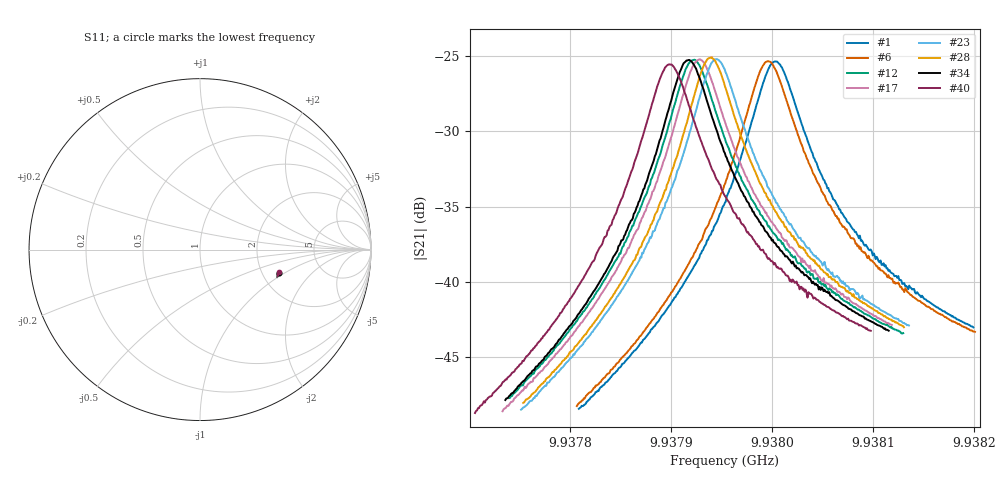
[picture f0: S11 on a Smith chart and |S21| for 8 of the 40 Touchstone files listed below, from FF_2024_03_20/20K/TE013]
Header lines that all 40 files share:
#  HZ  S  RI  R  50.00
! Rohde & Schwarz Vector Network Analyzer
! Rohde-Schwarz,ZNB20-2Port,1311601062101988,3.16
! freq[Hz]  re:S11  im:S11  re:S21  im:S21  re:S12  im:S12  re:S22  im:S22
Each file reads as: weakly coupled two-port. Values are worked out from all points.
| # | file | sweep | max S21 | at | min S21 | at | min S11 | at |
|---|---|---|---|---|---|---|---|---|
| 1 | 0_3_17.0001_20.9476318_0.316_2.426342487335205_.s2p | 9.9378084 GHz to 9.938199 GHz | -25.35 dB | 9.9380027 GHz | -48.4 dB | 9.9378084 GHz | -6.5 dB | 9.9379998 GHz |
| 2 | 1_3_16.9997_20.9477043_0.256_4.876332998275757_.s2p | 9.9378064 GHz to 9.9382008 GHz | -25.34 dB | 9.9380036 GHz | -48.6 dB | 9.9378064 GHz | -6.5 dB | 9.9380016 GHz |
| 3 | 2_3_16.9993_20.9471455_0.226_7.279202222824097_.s2p | 9.9378066 GHz to 9.9382008 GHz | -25.31 dB | 9.9380027 GHz | -48.6 dB | 9.9378066 GHz | -6.5 dB | 9.9379997 GHz |
| 4 | 3_3_17.0003_20.9473896_-0.045_10.378470182418823_.s2p | 9.9378083 GHz to 9.938199 GHz | -25.34 dB | 9.9380026 GHz | -48.4 dB | 9.9378083 GHz | -6.5 dB | 9.9380007 GHz |
| 5 | 4_3_16.9993_20.9473515_0.196_12.928760766983032_.s2p | 9.9378065 GHz to 9.9382008 GHz | -25.33 dB | 9.9380037 GHz | -48.7 dB | 9.9378065 GHz | -6.5 dB | 9.9380027 GHz |
| 6 | 5_3_16.9992_20.9473515_102.621_15.3671715259552_.s2p | 9.9378064 GHz to 9.9382007 GHz | -25.33 dB | 9.9379957 GHz | -48.3 dB | 9.9378064 GHz | -6.5 dB | 9.9379947 GHz |
| 7 | 6_3_17.0023_20.947319_343.566_17.781710863113403_.s2p | 9.9378004 GHz to 9.9381924 GHz | -25.32 dB | 9.9379798 GHz | -47.5 dB | 9.9378004 GHz | -6.5 dB | 9.9379778 GHz |
| 8 | 7_3_17.0019_20.947073_582.289_20.244353771209717_.s2p | 9.9377838 GHz to 9.9381751 GHz | -25.32 dB | 9.9379648 GHz | -47.6 dB | 9.9377838 GHz | -6.5 dB | 9.9379629 GHz |
| 9 | 8_3_17.0002_20.9462051_821.903_22.65634822845459_.s2p | 9.9377696 GHz to 9.93816 GHz | -25.30 dB | 9.9379521 GHz | -47.7 dB | 9.9377696 GHz | -6.5 dB | 9.9379501 GHz |
| 10 | 9_3_17.0002_20.9464111_1061.082_25.090989351272583_.s2p | 9.9377574 GHz to 9.9381477 GHz | -25.28 dB | 9.9379418 GHz | -47.8 dB | 9.9377584 GHz | -6.5 dB | 9.9379389 GHz |
| 11 | 10_3_16.999_20.9455433_1300.128_27.50348687171936_.s2p | 9.9377479 GHz to 9.9381369 GHz | -25.27 dB | 9.9379346 GHz | -47.9 dB | 9.9377479 GHz | -6.5 dB | 9.9379317 GHz |
| 12 | 11_3_16.9996_20.9440441_2136.067_35.842453956604004_.s2p | 9.9377394 GHz to 9.9381296 GHz | -25.23 dB | 9.9379228 GHz | -47.7 dB | 9.9377394 GHz | -6.5 dB | 9.9379189 GHz |
| 13 | 12_3_16.9994_20.9406967_2385.614_38.351560831069946_.s2p | 9.9377286 GHz to 9.9381163 GHz | -25.22 dB | 9.9379215 GHz | -48.3 dB | 9.9377286 GHz | -6.5 dB | 9.9379196 GHz |
| 14 | 13_3_17.0003_20.9390965_2634.412_40.76726937294006_.s2p | 9.9377277 GHz to 9.9381143 GHz | -25.20 dB | 9.93792 GHz | -48.5 dB | 9.9377277 GHz | -6.5 dB | 9.937921 GHz |
| 15 | 14_3_16.9994_20.9382229_2892.757_43.20173525810242_.s2p | 9.937729 GHz to 9.9381145 GHz | -25.20 dB | 9.9379237 GHz | -48.4 dB | 9.93773 GHz | -6.5 dB | 9.9379218 GHz |
| 16 | 15_3_16.9988_20.9363441_3122.349_45.627289056777954_.s2p | 9.9377308 GHz to 9.9381161 GHz | -25.21 dB | 9.9379244 GHz | -48.6 dB | 9.9377318 GHz | -6.5 dB | 9.9379225 GHz |
| 17 | 16_3_17.0_20.9349174_3371.016_48.052393198013306_.s2p | 9.9377328 GHz to 9.9381183 GHz | -25.20 dB | 9.9379284 GHz | -48.6 dB | 9.9377328 GHz | -6.5 dB | 9.9379246 GHz |
| 18 | 17_3_16.9988_20.9328613_3609.803_50.461381912231445_.s2p | 9.9377361 GHz to 9.9381205 GHz | -25.21 dB | 9.9379321 GHz | -48.5 dB | 9.937737 GHz | -6.5 dB | 9.9379283 GHz |
| 19 | 18_3_17.001_20.9305649_3818.908_52.86359453201294_.s2p | 9.937739 GHz to 9.9381234 GHz | -25.22 dB | 9.9379341 GHz | -48.6 dB | 9.937739 GHz | -6.5 dB | 9.9379331 GHz |
| 20 | 19_3_16.9994_20.9298344_4078.04_55.33401036262512_.s2p | 9.9377422 GHz to 9.9381266 GHz | -25.19 dB | 9.9379363 GHz | -48.6 dB | 9.9377422 GHz | -6.5 dB | 9.9379363 GHz |
| 21 | 20_3_17.0004_20.9271145_4317.148_57.79494261741638_.s2p | 9.9377458 GHz to 9.9381294 GHz | -25.21 dB | 9.9379395 GHz | -48.5 dB | 9.9377458 GHz | -6.5 dB | 9.9379385 GHz |
| 22 | 21_3_16.9996_20.9257584_4556.515_60.207566261291504_.s2p | 9.937749 GHz to 9.9381323 GHz | -25.21 dB | 9.9379425 GHz | -48.5 dB | 9.937749 GHz | -6.5 dB | 9.9379406 GHz |
| 23 | 22_3_17.0004_20.9236012_4815.167_62.632988691329956_.s2p | 9.9377511 GHz to 9.9381352 GHz | -25.19 dB | 9.9379451 GHz | -48.5 dB | 9.9377511 GHz | -6.5 dB | 9.9379441 GHz |
| 24 | 23_3_16.9987_20.9216194_5054.899_65.05207419395447_.s2p | 9.937754 GHz to 9.9381365 GHz | -25.15 dB | 9.9379462 GHz | -48.5 dB | 9.937755 GHz | -6.5 dB | 9.9379443 GHz |
| 25 | 24_3_16.9999_20.9186993_5293.842_67.48664855957031_.s2p | 9.9377563 GHz to 9.9381369 GHz | -25.13 dB | 9.9379466 GHz | -48.3 dB | 9.9377563 GHz | -6.5 dB | 9.9379466 GHz |
| 26 | 25_3_17.0003_20.9163342_5543.801_69.91299247741699_.s2p | 9.9377561 GHz to 9.9381367 GHz | -25.09 dB | 9.9379445 GHz | -48.2 dB | 9.9377561 GHz | -6.5 dB | 9.9379426 GHz |
| 27 | 26_3_16.9995_20.9146976_5763.375_72.35754990577698_.s2p | 9.937757 GHz to 9.9381321 GHz | -25.09 dB | 9.9379417 GHz | -48.0 dB | 9.937757 GHz | -6.5 dB | 9.9379398 GHz |
| 28 | 27_3_16.9989_20.9110851_6022.988_74.79115438461304_.s2p | 9.9377533 GHz to 9.9381303 GHz | -25.07 dB | 9.9379399 GHz | -48.0 dB | 9.9377533 GHz | -6.5 dB | 9.9379371 GHz |
| 29 | 28_3_16.9993_20.9090672_6262.057_77.25640368461609_.s2p | 9.9377528 GHz to 9.9381261 GHz | -25.10 dB | 9.9379385 GHz | -48.0 dB | 9.9377528 GHz | -6.5 dB | 9.9379357 GHz |
| 30 | 29_3_16.9992_20.9066029_6512.554_79.66858696937561_.s2p | 9.9377488 GHz to 9.9381275 GHz | -25.11 dB | 9.9379344 GHz | -48.1 dB | 9.9377488 GHz | -6.5 dB | 9.9379344 GHz |
| 31 | 30_3_16.9998_20.9049702_6773.379_82.2719886302948_.s2p | 9.9377475 GHz to 9.9381233 GHz | -25.10 dB | 9.9379317 GHz | -48.0 dB | 9.9377475 GHz | -6.5 dB | 9.9379288 GHz |
| 32 | 31_3_17.0011_20.902504_7033.131_84.72026562690735_.s2p | 9.9377445 GHz to 9.9381194 GHz | -25.15 dB | 9.9379282 GHz | -48.0 dB | 9.9377445 GHz | -6.5 dB | 9.9379254 GHz |
| 33 | 32_3_17.0007_20.9010792_7272.746_87.14651823043823_.s2p | 9.9377401 GHz to 9.9381173 GHz | -25.17 dB | 9.9379249 GHz | -48.0 dB | 9.9377401 GHz | -6.5 dB | 9.9379221 GHz |
| 34 | 33_3_17.0012_20.8975048_8063.326_95.31658697128296_.s2p | 9.9377356 GHz to 9.9381153 GHz | -25.25 dB | 9.9379178 GHz | -47.9 dB | 9.9377356 GHz | -6.5 dB | 9.9379159 GHz |
| 35 | 34_3_17.0015_20.8874779_8303.632_97.7389407157898_.s2p | 9.9377263 GHz to 9.9381089 GHz | -25.30 dB | 9.9379128 GHz | -48.1 dB | 9.9377263 GHz | -6.5 dB | 9.9379109 GHz |
| 36 | 35_3_16.9996_20.8837643_8564.217_100.13810896873474_.s2p | 9.9377215 GHz to 9.9381039 GHz | -25.36 dB | 9.9379089 GHz | -48.3 dB | 9.9377215 GHz | -6.5 dB | 9.9379079 GHz |
| 37 | 36_3_16.9995_20.8810253_8804.448_102.59258103370667_.s2p | 9.937715 GHz to 9.938105 GHz | -25.39 dB | 9.9379061 GHz | -48.5 dB | 9.937715 GHz | -6.5 dB | 9.9379051 GHz |
| 38 | 37_3_17.0021_20.8782539_9034.515_105.00506949424744_.s2p | 9.9377135 GHz to 9.9381005 GHz | -25.44 dB | 9.9379021 GHz | -48.5 dB | 9.9377135 GHz | -6.5 dB | 9.9379031 GHz |
| 39 | 38_3_16.9983_20.8740959_9284.834_107.47830486297607_.s2p | 9.9377099 GHz to 9.9380988 GHz | -25.47 dB | 9.9379014 GHz | -48.4 dB | 9.9377099 GHz | -6.5 dB | 9.9378985 GHz |
| 40 | 39_3_16.9982_20.8699398_9535.237_109.89581894874573_.s2p | 9.9377055 GHz to 9.9380976 GHz | -25.54 dB | 9.9378976 GHz | -48.7 dB | 9.9377055 GHz | -6.5 dB | 9.9378976 GHz |
